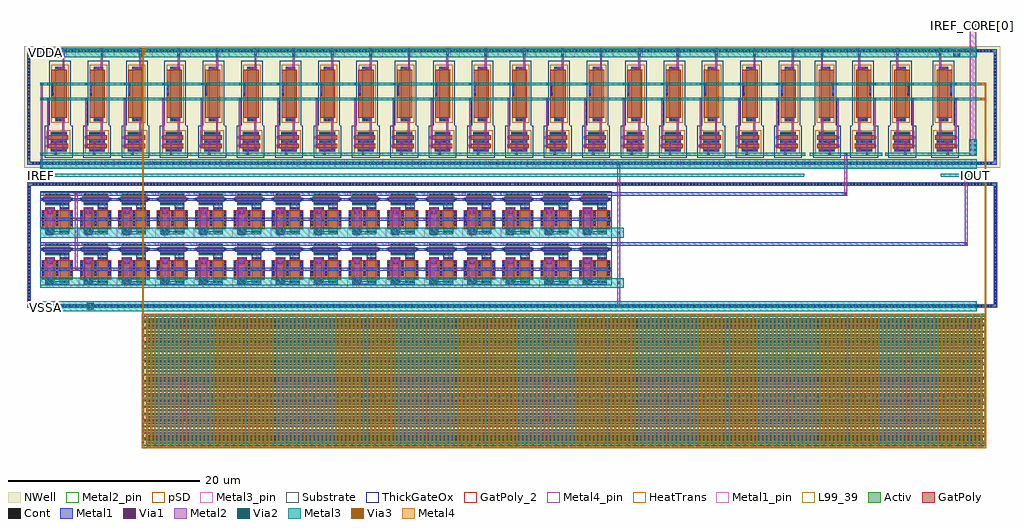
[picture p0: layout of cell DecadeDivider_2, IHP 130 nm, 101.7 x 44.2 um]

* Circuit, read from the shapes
.subckt DecadeDivider_2 IOUT IREF IREF_CORE[0] VDDA VSSA
XM1 VSSA ISINK_MB_0_0/EN n1 VSSA sg13_hv_nmos w=1u l=2u
XM2 IOUT ISINK_MB_0_0/EN n2 VSSA sg13_hv_nmos w=2.5u l=0.5u
XM3 VSSA ISINK_MB_0_0/EN n3 VSSA sg13_hv_nmos w=1u l=2u
XM4 ISINK_MB_0_0/EN ISINK_MB_0_0/EN n4 VSSA sg13_hv_nmos w=2.5u l=0.5u
XM5 n2 ISINK_MB_0_0/EN n1 VSSA sg13_hv_nmos w=1u l=2u
XM6 n4 ISINK_MB_0_0/EN n3 VSSA sg13_hv_nmos w=1u l=2u
XM7 VSSA ISINK_MB_0_0/EN n5 VSSA sg13_hv_nmos w=1u l=2u
XM8 IOUT ISINK_MB_0_0/EN n6 VSSA sg13_hv_nmos w=2.5u l=0.5u
XM9 VSSA ISINK_MB_0_0/EN n7 VSSA sg13_hv_nmos w=1u l=2u
XM10 ISINK_MB_0_0/EN ISINK_MB_0_0/EN n8 VSSA sg13_hv_nmos w=2.5u l=0.5u
XM11 n6 ISINK_MB_0_0/EN n5 VSSA sg13_hv_nmos w=1u l=2u
XM12 n8 ISINK_MB_0_0/EN n7 VSSA sg13_hv_nmos w=1u l=2u
XM13 VSSA ISINK_MB_0_0/EN n9 VSSA sg13_hv_nmos w=1u l=2u
XM14 IOUT ISINK_MB_0_0/EN n10 VSSA sg13_hv_nmos w=2.5u l=0.5u
XM15 VSSA ISINK_MB_0_0/EN n11 VSSA sg13_hv_nmos w=1u l=2u
XM16 ISINK_MB_0_0/EN ISINK_MB_0_0/EN n12 VSSA sg13_hv_nmos w=2.5u l=0.5u
XM17 n10 ISINK_MB_0_0/EN n9 VSSA sg13_hv_nmos w=1u l=2u
XM18 n12 ISINK_MB_0_0/EN n11 VSSA sg13_hv_nmos w=1u l=2u
XM19 VSSA ISINK_MB_0_0/EN n13 VSSA sg13_hv_nmos w=1u l=2u
XM20 IOUT ISINK_MB_0_0/EN n14 VSSA sg13_hv_nmos w=2.5u l=0.5u
XM21 VSSA ISINK_MB_0_0/EN n15 VSSA sg13_hv_nmos w=1u l=2u
XM22 ISINK_MB_0_0/EN ISINK_MB_0_0/EN n16 VSSA sg13_hv_nmos w=2.5u l=0.5u
XM23 n14 ISINK_MB_0_0/EN n13 VSSA sg13_hv_nmos w=1u l=2u
XM24 n16 ISINK_MB_0_0/EN n15 VSSA sg13_hv_nmos w=1u l=2u
XM25 VSSA ISINK_MB_0_0/EN n17 VSSA sg13_hv_nmos w=1u l=2u
XM26 IOUT ISINK_MB_0_0/EN n18 VSSA sg13_hv_nmos w=2.5u l=0.5u
XM27 VSSA ISINK_MB_0_0/EN n19 VSSA sg13_hv_nmos w=1u l=2u
XM28 ISINK_MB_0_0/EN ISINK_MB_0_0/EN n20 VSSA sg13_hv_nmos w=2.5u l=0.5u
XM29 n18 ISINK_MB_0_0/EN n17 VSSA sg13_hv_nmos w=1u l=2u
XM30 n20 ISINK_MB_0_0/EN n19 VSSA sg13_hv_nmos w=1u l=2u
XM31 VSSA ISINK_MB_0_0/EN n21 VSSA sg13_hv_nmos w=1u l=2u
XM32 IOUT ISINK_MB_0_0/EN n22 VSSA sg13_hv_nmos w=2.5u l=0.5u
XM33 VSSA ISINK_MB_0_0/EN n23 VSSA sg13_hv_nmos w=1u l=2u
XM34 ISINK_MB_0_0/EN ISINK_MB_0_0/EN n24 VSSA sg13_hv_nmos w=2.5u l=0.5u
XM35 n22 ISINK_MB_0_0/EN n21 VSSA sg13_hv_nmos w=1u l=2u
XM36 n24 ISINK_MB_0_0/EN n23 VSSA sg13_hv_nmos w=1u l=2u
XM37 VSSA ISINK_MB_0_0/EN n25 VSSA sg13_hv_nmos w=1u l=2u
XM38 IOUT ISINK_MB_0_0/EN n26 VSSA sg13_hv_nmos w=2.5u l=0.5u
XM39 VSSA ISINK_MB_0_0/EN n27 VSSA sg13_hv_nmos w=1u l=2u
XM40 ISINK_MB_0_0/EN ISINK_MB_0_0/EN n28 VSSA sg13_hv_nmos w=2.5u l=0.5u
XM41 n26 ISINK_MB_0_0/EN n25 VSSA sg13_hv_nmos w=1u l=2u
XM42 n28 ISINK_MB_0_0/EN n27 VSSA sg13_hv_nmos w=1u l=2u
XM43 VSSA ISINK_MB_0_0/EN n29 VSSA sg13_hv_nmos w=1u l=2u
XM44 IOUT ISINK_MB_0_0/EN n30 VSSA sg13_hv_nmos w=2.5u l=0.5u
XM45 VSSA ISINK_MB_0_0/EN n31 VSSA sg13_hv_nmos w=1u l=2u
XM46 ISINK_MB_0_0/EN ISINK_MB_0_0/EN n32 VSSA sg13_hv_nmos w=2.5u l=0.5u
XM47 n30 ISINK_MB_0_0/EN n29 VSSA sg13_hv_nmos w=1u l=2u
XM48 n32 ISINK_MB_0_0/EN n31 VSSA sg13_hv_nmos w=1u l=2u
XM49 VSSA ISINK_MB_0_0/EN n33 VSSA sg13_hv_nmos w=1u l=2u
XM50 IOUT ISINK_MB_0_0/EN n34 VSSA sg13_hv_nmos w=2.5u l=0.5u
XM51 VSSA ISINK_MB_0_0/EN n35 VSSA sg13_hv_nmos w=1u l=2u
XM52 ISINK_MB_0_0/EN ISINK_MB_0_0/EN n36 VSSA sg13_hv_nmos w=2.5u l=0.5u
XM53 n34 ISINK_MB_0_0/EN n33 VSSA sg13_hv_nmos w=1u l=2u
XM54 n36 ISINK_MB_0_0/EN n35 VSSA sg13_hv_nmos w=1u l=2u
XM55 VSSA ISINK_MB_0_0/EN n37 VSSA sg13_hv_nmos w=1u l=2u
XM56 IOUT ISINK_MB_0_0/EN n38 VSSA sg13_hv_nmos w=2.5u l=0.5u
XM57 VSSA ISINK_MB_0_0/EN n39 VSSA sg13_hv_nmos w=1u l=2u
XM58 ISINK_MB_0_0/EN ISINK_MB_0_0/EN n40 VSSA sg13_hv_nmos w=2.5u l=0.5u
XM59 n38 ISINK_MB_0_0/EN n37 VSSA sg13_hv_nmos w=1u l=2u
XM60 n40 ISINK_MB_0_0/EN n39 VSSA sg13_hv_nmos w=1u l=2u
XM61 VSSA ISINK_MB_0_0/EN n41 VSSA sg13_hv_nmos w=1u l=2u
XM62 IOUT ISINK_MB_0_0/EN n42 VSSA sg13_hv_nmos w=2.5u l=0.5u
XM63 VSSA ISINK_MB_0_0/EN n43 VSSA sg13_hv_nmos w=1u l=2u
XM64 ISINK_MB_0_0/EN ISINK_MB_0_0/EN n44 VSSA sg13_hv_nmos w=2.5u l=0.5u
XM65 n42 ISINK_MB_0_0/EN n41 VSSA sg13_hv_nmos w=1u l=2u
XM66 n44 ISINK_MB_0_0/EN n43 VSSA sg13_hv_nmos w=1u l=2u
XM67 VSSA ISINK_MB_0_0/EN n45 VSSA sg13_hv_nmos w=1u l=2u
XM68 IOUT ISINK_MB_0_0/EN n46 VSSA sg13_hv_nmos w=2.5u l=0.5u
XM69 VSSA ISINK_MB_0_0/EN n47 VSSA sg13_hv_nmos w=1u l=2u
XM70 ISINK_MB_0_0/EN ISINK_MB_0_0/EN n48 VSSA sg13_hv_nmos w=2.5u l=0.5u
XM71 n46 ISINK_MB_0_0/EN n45 VSSA sg13_hv_nmos w=1u l=2u
XM72 n48 ISINK_MB_0_0/EN n47 VSSA sg13_hv_nmos w=1u l=2u
XM73 VSSA ISINK_MB_0_0/EN n49 VSSA sg13_hv_nmos w=1u l=2u
XM74 IOUT ISINK_MB_0_0/EN n50 VSSA sg13_hv_nmos w=2.5u l=0.5u
XM75 VSSA ISINK_MB_0_0/EN n51 VSSA sg13_hv_nmos w=1u l=2u
XM76 ISINK_MB_0_0/EN ISINK_MB_0_0/EN n52 VSSA sg13_hv_nmos w=2.5u l=0.5u
XM77 n50 ISINK_MB_0_0/EN n49 VSSA sg13_hv_nmos w=1u l=2u
XM78 n52 ISINK_MB_0_0/EN n51 VSSA sg13_hv_nmos w=1u l=2u
XM79 VSSA ISINK_MB_0_0/EN n53 VSSA sg13_hv_nmos w=1u l=2u
XM80 IOUT ISINK_MB_0_0/EN n54 VSSA sg13_hv_nmos w=2.5u l=0.5u
XM81 VSSA ISINK_MB_0_0/EN n55 VSSA sg13_hv_nmos w=1u l=2u
XM82 ISINK_MB_0_0/EN ISINK_MB_0_0/EN n56 VSSA sg13_hv_nmos w=2.5u l=0.5u
XM83 n54 ISINK_MB_0_0/EN n53 VSSA sg13_hv_nmos w=1u l=2u
XM84 n56 ISINK_MB_0_0/EN n55 VSSA sg13_hv_nmos w=1u l=2u
XM85 VSSA ISINK_MB_0_0/EN n57 VSSA sg13_hv_nmos w=1u l=2u
XM86 IOUT ISINK_MB_0_0/EN n58 VSSA sg13_hv_nmos w=2.5u l=0.5u
XM87 VSSA ISINK_MB_0_0/EN n59 VSSA sg13_hv_nmos w=1u l=2u
XM88 ISINK_MB_0_0/EN ISINK_MB_0_0/EN n60 VSSA sg13_hv_nmos w=2.5u l=0.5u
XM89 n58 ISINK_MB_0_0/EN n57 VSSA sg13_hv_nmos w=1u l=2u
XM90 n60 ISINK_MB_0_0/EN n59 VSSA sg13_hv_nmos w=1u l=2u
XM91 IREF IREF n61 VDDA sg13_hv_pmos w=1.65u l=0.5u m=2
XM92 VDDA IREF n61 VDDA sg13_hv_pmos w=1u l=5u
XM93 IREF IREF n62 VDDA sg13_hv_pmos w=1.65u l=0.5u m=2
XM94 VDDA IREF n62 VDDA sg13_hv_pmos w=1u l=5u
XM95 IREF IREF n63 VDDA sg13_hv_pmos w=1.65u l=0.5u m=2
XM96 VDDA IREF n63 VDDA sg13_hv_pmos w=1u l=5u
XM97 IREF IREF n64 VDDA sg13_hv_pmos w=1.65u l=0.5u m=2
XM98 VDDA IREF n64 VDDA sg13_hv_pmos w=1u l=5u
XM99 IREF IREF n65 VDDA sg13_hv_pmos w=1.65u l=0.5u m=2
XM100 VDDA IREF n65 VDDA sg13_hv_pmos w=1u l=5u
XM101 IREF IREF n66 VDDA sg13_hv_pmos w=1.65u l=0.5u m=2
XM102 VDDA IREF n66 VDDA sg13_hv_pmos w=1u l=5u
XM103 IREF IREF n67 VDDA sg13_hv_pmos w=1.65u l=0.5u m=2
XM104 VDDA IREF n67 VDDA sg13_hv_pmos w=1u l=5u
XM105 IREF IREF n68 VDDA sg13_hv_pmos w=1.65u l=0.5u m=2
XM106 VDDA IREF n68 VDDA sg13_hv_pmos w=1u l=5u
XM107 IREF IREF n69 VDDA sg13_hv_pmos w=1.65u l=0.5u m=2
XM108 VDDA IREF n69 VDDA sg13_hv_pmos w=1u l=5u
XM109 IREF IREF n70 VDDA sg13_hv_pmos w=1.65u l=0.5u m=2
XM110 VDDA IREF n70 VDDA sg13_hv_pmos w=1u l=5u
XM111 IREF IREF n71 VDDA sg13_hv_pmos w=1.65u l=0.5u m=2
XM112 VDDA IREF n71 VDDA sg13_hv_pmos w=1u l=5u
XM113 IREF IREF n72 VDDA sg13_hv_pmos w=1.65u l=0.5u m=2
XM114 VDDA IREF n72 VDDA sg13_hv_pmos w=1u l=5u
XM115 IREF IREF n73 VDDA sg13_hv_pmos w=1.65u l=0.5u m=2
XM116 VDDA IREF n73 VDDA sg13_hv_pmos w=1u l=5u
XM117 IREF IREF n74 VDDA sg13_hv_pmos w=1.65u l=0.5u m=2
XM118 VDDA IREF n74 VDDA sg13_hv_pmos w=1u l=5u
XM119 IREF IREF n75 VDDA sg13_hv_pmos w=1.65u l=0.5u m=2
XM120 VDDA IREF n75 VDDA sg13_hv_pmos w=1u l=5u
XM121 IREF IREF n76 VDDA sg13_hv_pmos w=1.65u l=0.5u m=2
XM122 VDDA IREF n76 VDDA sg13_hv_pmos w=1u l=5u
XM123 IREF IREF n77 VDDA sg13_hv_pmos w=1.65u l=0.5u m=2
XM124 VDDA IREF n77 VDDA sg13_hv_pmos w=1u l=5u
XM125 IREF IREF n78 VDDA sg13_hv_pmos w=1.65u l=0.5u m=2
XM126 VDDA IREF n78 VDDA sg13_hv_pmos w=1u l=5u
XM127 IREF IREF n79 VDDA sg13_hv_pmos w=1.65u l=0.5u m=2
XM128 VDDA IREF n79 VDDA sg13_hv_pmos w=1u l=5u
XM129 IREF IREF n80 VDDA sg13_hv_pmos w=1.65u l=0.5u m=2
XM130 VDDA IREF n80 VDDA sg13_hv_pmos w=1u l=5u
XM131 ISINK_MB_0_0/EN IREF n81 VDDA sg13_hv_pmos w=1.65u l=0.5u m=2
XM132 VDDA IREF n81 VDDA sg13_hv_pmos w=1u l=5u
XM133 ISINK_MB_0_0/EN IREF n82 VDDA sg13_hv_pmos w=1.65u l=0.5u m=2
XM134 VDDA IREF n82 VDDA sg13_hv_pmos w=1u l=5u
XM135 IREF_CORE[0] IREF n83 VDDA sg13_hv_pmos w=1.65u l=0.5u m=2
XM136 VDDA IREF n83 VDDA sg13_hv_pmos w=1u l=5u
XM137 IREF_CORE[0] IREF n84 VDDA sg13_hv_pmos w=1.65u l=0.5u m=2
XM138 VDDA IREF n84 VDDA sg13_hv_pmos w=1u l=5u
.ends

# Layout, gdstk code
from math import pi, radians
import gdstk
lib = gdstk.Library(unit=1e-6, precision=1e-09)
def R(c, l, rs):  # rectangles x0, y0, x1, y1
    for r in rs: c.add(gdstk.rectangle(r[:2], r[2:], *l))
def A(c, l, x, y, w, h, nx, ny, dx, dy):  # array of equal rectangles
    R(c, l, [(x+i*dx, y+j*dy, x+i*dx+w, y+j*dy+h) for i in range(nx) for j in range(ny)])
def P(c, l, *ps):  # polygons
    for p in ps: c.add(gdstk.Polygon(p, *l))
Activ = (1, 0)
GatPoly = (5, 0)
GatPoly_2 = (5, 2)
Cont = (6, 0)
Metal1 = (8, 0)
Metal1_pin = (8, 2)
Metal2 = (10, 0)
Metal2_pin = (10, 2)
pSD = (14, 0)
Via1 = (19, 0)
Via2 = (29, 0)
Metal3 = (30, 0)
Metal3_pin = (30, 2)
NWell = (31, 0)
Substrate = (40, 0)
ThickGateOx = (44, 0)
Via3 = (49, 0)
Metal4 = (50, 0)
Metal4_pin = (50, 2)
HeatTrans = (51, 0)
L99_39 = (99, 39)

nmoshv = lib.new_cell('nmosHV')
R(nmoshv, Activ, [(0,0,0.3,0.3), (0,0,1.18,2.5), (0.88,0,1.18,0.3)])
R(nmoshv, GatPoly, [(0.34,-0.18,0.84,2.68)])
R(nmoshv, GatPoly_2, [(0.34,-0.18,0.84,2.68)])
A(nmoshv, Cont, 0.07, 0.07, 0.16, 0.16, 1, 3, 0, 0.365)
A(nmoshv, Cont, 0.95, 0.07, 0.16, 0.16, 1, 3, 0, 0.365)
A(nmoshv, Cont, 0.07, 1.17, 0.16, 0.16, 1, 3, 0, 0.365)
A(nmoshv, Cont, 0.95, 1.17, 0.16, 0.16, 1, 3, 0, 0.365)
R(nmoshv, Cont, [(0.07,2.27,0.23,2.43), (0.95,2.27,1.11,2.43)])
R(nmoshv, Metal1, [(0.07,0,0.23,2.5), (0.95,0,1.11,2.5)])
R(nmoshv, Metal1_pin, [(0.07,0,0.23,2.5), (0.95,0,1.11,2.5)])
R(nmoshv, ThickGateOx, [(-0.27,-0.52,1.45,3.02)])
R(nmoshv, HeatTrans, [(0.34,-0.18,0.84,2.68)])
nmoshv.add(gdstk.Label('nmosHV', (0.59,1.25), layer=63, texttype=0))
nmoshv.add(gdstk.Label('nmosHV', (0.59,1.25), layer=51, texttype=0))

nmoshv_1 = lib.new_cell('nmosHV$1')
R(nmoshv_1, Activ, [(0,0,0.3,0.3), (0,0,2.68,1), (2.38,0,2.68,0.3)])
R(nmoshv_1, GatPoly, [(0.34,-0.18,2.34,1.18)])
R(nmoshv_1, GatPoly_2, [(0.34,-0.18,2.34,1.18)])
A(nmoshv_1, Cont, 0.07, 0.07, 0.16, 0.16, 1, 3, 0, 0.35)
A(nmoshv_1, Cont, 2.45, 0.07, 0.16, 0.16, 1, 3, 0, 0.35)
R(nmoshv_1, Metal1, [(0.07,0,0.23,1), (2.45,0,2.61,1)])
R(nmoshv_1, Metal1_pin, [(0.07,0,0.23,1), (2.45,0,2.61,1)])
R(nmoshv_1, ThickGateOx, [(-0.27,-0.52,2.95,1.52)])
R(nmoshv_1, HeatTrans, [(0.34,-0.18,2.34,1.18)])
nmoshv_1.add(gdstk.Label('nmosHV', (1.34,0.5), layer=63, texttype=0))
nmoshv_1.add(gdstk.Label('nmosHV', (1.34,0.5), layer=51, texttype=0))

viagpcont_m1 = lib.new_cell('ViaGPCont_M1')
R(viagpcont_m1, GatPoly, [(-0.15,-0.15,0.15,0.15), (-0.15,-0.15,0.15,0.15)])
R(viagpcont_m1, Cont, [(-0.08,-0.08,0.08,0.08)])
R(viagpcont_m1, Metal1, [(-0.13,-0.08,0.13,0.08)])

viagpcont_m1_2 = lib.new_cell('ViaGPCont_M1$2')
R(viagpcont_m1_2, GatPoly, [(-0.15,-0.83,0.15,0.83), (-0.15,-0.83,0.15,0.83)])
A(viagpcont_m1_2, Cont, -0.08, -0.76, 0.16, 0.16, 1, 5, 0, 0.34)
R(viagpcont_m1_2, Metal1, [(-0.13,-0.76,0.13,0.76)])

via_stack_5 = lib.new_cell('via_stack$5')
R(via_stack_5, Metal2, [(-0.35,-0.35,0.35,0.35)])
R(via_stack_5, Via2, [(-0.3,-0.3,-0.11,-0.11), (0.11,-0.3,0.3,-0.11), (-0.3,0.11,-0.11,0.3), (0.11,0.11,0.3,0.3)])
R(via_stack_5, Metal3, [(-0.35,-0.35,0.35,0.35)])

via_stack_6 = lib.new_cell('via_stack$6')
R(via_stack_6, Metal1, [(-0.35,-0.35,0.35,0.35)])
R(via_stack_6, Metal2, [(-0.35,-0.35,0.35,0.35)])
R(via_stack_6, Via1, [(-0.3,-0.3,-0.11,-0.11), (0.11,-0.3,0.3,-0.11), (-0.3,0.11,-0.11,0.3), (0.11,0.11,0.3,0.3)])

isink_mb = lib.new_cell('ISINK_MB')
R(isink_mb, Metal1, [(0.52,3.105,1.52,3.455)])
R(isink_mb, Metal3_pin, [(2.54,0,3.54,1)])
isink_mb.add(gdstk.FlexPath([(0,1.91),(3.54,1.91)], 0.3, ends="flush", simple_path=True, layer=8, datatype=0))  # Metal1
isink_mb.add(gdstk.FlexPath([(0.52,0.495),(3.02,0.495)], 0.3, ends="flush", simple_path=True, layer=8, datatype=0))  # Metal1
isink_mb.add(gdstk.FlexPath([(0,4.535),(3.54,4.535)], 0.4, ends="flush", simple_path=True, layer=8, datatype=0))  # Metal1
isink_mb.add(gdstk.FlexPath([(0,3.965),(3.54,3.965)], 0.3, ends="flush", simple_path=True, layer=8, datatype=0))  # Metal1
isink_mb.add(gdstk.FlexPath([(2.53,3.175),(2.53,0.215)], 0.7, ends="flush", simple_path=True, layer=10, datatype=0))  # Metal2
isink_mb.add(gdstk.FlexPath([(0,0.5),(3.54,0.5)], 1, ends="flush", simple_path=True, layer=30, datatype=0))  # Metal3
isink_mb.add(gdstk.FlexPath([(3.54,1.91),(3.18,1.91)], 0.3, ends="flush", simple_path=True, layer=8, datatype=2))  # Metal1_pin
isink_mb.add(gdstk.FlexPath([(3.54,4.535),(3.18,4.535)], 0.4, ends="flush", simple_path=True, layer=8, datatype=2))  # Metal1_pin
isink_mb.add(gdstk.FlexPath([(3.54,3.965),(3.18,3.965)], 0.3, ends="flush", simple_path=True, layer=8, datatype=2))  # Metal1_pin
isink_mb.add(gdstk.FlexPath([(0.15,1.835),(3.39,1.835)], 2, ends="flush", simple_path=True, layer=5, datatype=0))  # GatPoly
r = gdstk.Reference(nmoshv, (0.52,4.565), rotation=3*pi/2); r.repetition = gdstk.Repetition(1, 1, v1=(0,0), v2=(0,0)); isink_mb.add(r)
r = gdstk.Reference(nmoshv_1, (2.02,3.175), rotation=3*pi/2); r.repetition = gdstk.Repetition(1, 1, v1=(0,0), v2=(0,0)); isink_mb.add(r)
r = gdstk.Reference(nmoshv_1, (0.52,3.175), rotation=3*pi/2); r.repetition = gdstk.Repetition(1, 1, v1=(0,0), v2=(0,0)); isink_mb.add(r)
r = gdstk.Reference(viagpcont_m1, (0.3,3.985), rotation=pi/2); r.repetition = gdstk.Repetition(1, 1, v1=(0,0), v2=(0,0)); isink_mb.add(r)
r = gdstk.Reference(viagpcont_m1_2, (0.3,1.985)); r.repetition = gdstk.Repetition(3, 1, v1=(1.47,0), v2=(0,0)); isink_mb.add(r)
r = gdstk.Reference(via_stack_5, (2.54,0.565)); r.repetition = gdstk.Repetition(1, 1, v1=(0,0), v2=(0,0)); isink_mb.add(r)
r = gdstk.Reference(via_stack_6, (2.53,2.825)); r.repetition = gdstk.Repetition(1, 1, v1=(0,0), v2=(0,0)); isink_mb.add(r)
r = gdstk.Reference(viagpcont_m1, (3.24,3.985), rotation=pi/2); r.repetition = gdstk.Repetition(1, 1, v1=(0,0), v2=(0,0)); isink_mb.add(r)
isink_mb.add(gdstk.Label('VSSA', (3.04,0.5), layer=30, texttype=25))
isink_mb.add(gdstk.Label('MBIAS', (3.54,1.91), layer=8, texttype=25))
isink_mb.add(gdstk.Label('EN', (3.54,3.965), layer=8, texttype=25))
isink_mb.add(gdstk.Label('IO', (3.54,4.535), layer=8, texttype=25))

via_stack_5_1 = lib.new_cell('via_stack$5$1')
R(via_stack_5_1, Metal2, [(-0.145,-0.145,0.145,0.145)])
R(via_stack_5_1, Via2, [(-0.095,-0.095,0.095,0.095)])
R(via_stack_5_1, Metal3, [(-0.145,-0.145,0.145,0.145)])

via_stack_13 = lib.new_cell('via_stack$13')
R(via_stack_13, Metal2, [(-0.385,-0.865,0.385,0.865)])
A(via_stack_13, Via2, -0.335, -0.815, 0.19, 0.19, 1, 4, 0, 0.48)
A(via_stack_13, Via2, 0.145, -0.815, 0.19, 0.19, 1, 4, 0, 0.48)
R(via_stack_13, Metal3, [(-0.385,-0.865,0.385,0.865)])

via_stack_6_2 = lib.new_cell('via_stack$6$2')
R(via_stack_6_2, Metal1, [(-0.145,-0.145,0.145,0.145)])
R(via_stack_6_2, Metal2, [(-0.145,-0.145,0.145,0.145)])
R(via_stack_6_2, Via1, [(-0.095,-0.095,0.095,0.095)])

pmoshv = lib.new_cell('pmosHV')
R(pmoshv, Activ, [(0,0,0.3,0.3), (0,0,5.68,1), (5.38,0,5.68,0.3)])
R(pmoshv, GatPoly, [(0.34,-0.18,5.34,1.18)])
R(pmoshv, GatPoly_2, [(0.34,-0.18,5.34,1.18)])
A(pmoshv, Cont, 0.07, 0.07, 0.16, 0.16, 1, 3, 0, 0.35)
A(pmoshv, Cont, 5.45, 0.07, 0.16, 0.16, 1, 3, 0, 0.35)
R(pmoshv, Metal1, [(0.07,0,0.23,1), (5.45,0,5.61,1)])
R(pmoshv, Metal1_pin, [(0.07,0,0.23,1), (5.45,0,5.61,1)])
R(pmoshv, pSD, [(-0.18,-0.4,5.86,1.4)])
R(pmoshv, NWell, [(-0.62,-0.62,6.3,1.62)])
R(pmoshv, Substrate, [(5.38,0,5.68,0.3)])
R(pmoshv, ThickGateOx, [(-0.62,-0.62,6.3,1.62)])
R(pmoshv, HeatTrans, [(0.34,-0.18,5.34,1.18)])
pmoshv.add(gdstk.Label('pmosHV', (2.84,0.5), layer=63, texttype=0))
pmoshv.add(gdstk.Label('pmos', (2.84,0.5), layer=51, texttype=0))

pmoshv_1 = lib.new_cell('pmosHV$1')
A(pmoshv_1, Activ, 0, 0, 0.3, 0.3, 3, 1, 0.88, 0)
R(pmoshv_1, Activ, [(0,0,2.06,1.65)])
R(pmoshv_1, GatPoly, [(0.34,-0.18,0.84,1.83), (1.22,-0.18,1.72,1.83)])
R(pmoshv_1, GatPoly_2, [(0.34,-0.18,0.84,1.83)])
A(pmoshv_1, Cont, 0.07, 0.07, 0.16, 0.16, 3, 4, 0.88, 0.45)
A(pmoshv_1, Metal1, 0.07, 0, 0.16, 1.65, 3, 1, 0.88, 0)
R(pmoshv_1, Metal1_pin, [(0.07,0,0.23,1.65), (0.95,0,1.11,1.65)])
R(pmoshv_1, pSD, [(-0.18,-0.4,2.24,2.05)])
R(pmoshv_1, NWell, [(-0.62,-0.62,2.68,2.27)])
R(pmoshv_1, Substrate, [(1.76,0,2.06,0.3)])
R(pmoshv_1, ThickGateOx, [(-0.62,-0.62,2.68,2.27)])
R(pmoshv_1, HeatTrans, [(0.34,-0.18,0.84,1.83), (1.22,-0.18,1.72,1.83)])
pmoshv_1.add(gdstk.Label('pmosHV', (0.59,0.825), layer=63, texttype=0))
pmoshv_1.add(gdstk.Label('pmos', (0.59,0.825), layer=51, texttype=0))
pmoshv_1.add(gdstk.Label('pmos', (1.47,0.825), layer=51, texttype=0))

via_stack = lib.new_cell('via_stack')
R(via_stack, Metal1, [(-0.145,-0.35,0.145,0.35)])
R(via_stack, Metal2, [(-0.145,-0.35,0.145,0.35)])
R(via_stack, Via1, [(-0.095,-0.3,0.095,-0.11), (-0.095,0.11,0.095,0.3)])

via_stack_1 = lib.new_cell('via_stack$1')
R(via_stack_1, Metal1, [(-0.35,-0.145,0.35,0.145)])
R(via_stack_1, Metal2, [(-0.35,-0.145,0.35,0.145)])
R(via_stack_1, Via1, [(-0.3,-0.095,-0.11,0.095), (0.11,-0.095,0.3,0.095)])
R(via_stack_1, Via2, [(-0.3,-0.095,-0.11,0.095), (0.11,-0.095,0.3,0.095)])
R(via_stack_1, Metal3, [(-0.35,-0.145,0.35,0.145)])

via_stack_2 = lib.new_cell('via_stack$2')
R(via_stack_2, Metal1, [(-0.145,-0.35,0.145,0.35)])
R(via_stack_2, Metal2, [(-0.145,-0.35,0.145,0.35)])
R(via_stack_2, Via1, [(-0.095,-0.3,0.095,-0.11), (-0.095,0.11,0.095,0.3)])
R(via_stack_2, Via2, [(-0.095,-0.3,0.095,-0.11), (-0.095,0.11,0.095,0.3)])
R(via_stack_2, Metal3, [(-0.145,-0.35,0.145,0.35)])

via_stack_3 = lib.new_cell('via_stack$3')
R(via_stack_3, Metal2, [(-0.145,-0.145,0.145,0.145)])
R(via_stack_3, Via2, [(-0.095,-0.095,0.095,0.095)])
R(via_stack_3, Metal3, [(-0.145,-0.145,0.145,0.145)])

via_stack_4 = lib.new_cell('via_stack$4')
R(via_stack_4, Metal1, [(-0.145,-0.145,0.145,0.145)])
R(via_stack_4, Metal2, [(-0.145,-0.145,0.145,0.145)])
R(via_stack_4, Via1, [(-0.095,-0.095,0.095,0.095)])

isource = lib.new_cell('ISOURCE')
R(isource, Metal3_pin, [(0,0,1,1), (0,1.36,0.3,1.66), (3.35,7.13,3.65,7.43), (3.35,8.7,3.65,9), (0,11.61,1,12.61)])
isource.add(gdstk.FlexPath([(2.43,7.645),(2.43,8.966)], 0.2, ends="flush", simple_path=True, layer=8, datatype=0))  # Metal1
isource.add(gdstk.FlexPath([(2.9,2.275),(2.9,3.4)], 0.2, ends="flush", simple_path=True, layer=8, datatype=0))  # Metal1
isource.add(gdstk.FlexPath([(1.28,10.36),(1.28,12.61)], 0.2, ends="flush", simple_path=True, layer=10, datatype=0))  # Metal2
isource.add(gdstk.FlexPath([(2.9,2.275),(2.9,7.43)], 0.2, ends="flush", simple_path=True, layer=10, datatype=0))  # Metal2
isource.add(gdstk.FlexPath([(1.29,5.26),(1.29,1.795)], 0.2, ends="flush", simple_path=True, layer=10, datatype=0))  # Metal2
isource.add(gdstk.FlexPath([(2.085,2.955),(2.085,1.36)], 0.2, ends="flush", simple_path=True, layer=10, datatype=0))  # Metal2
isource.add(gdstk.FlexPath([(0,0.5),(3.65,0.5)], 1, ends="flush", simple_path=True, layer=30, datatype=0))  # Metal3
isource.add(gdstk.FlexPath([(0,12.11),(3.64,12.11)], 1, ends="flush", simple_path=True, layer=30, datatype=0))  # Metal3
isource.add(gdstk.FlexPath([(0,1.51),(3.65,1.51)], 0.3, ends="flush", simple_path=True, layer=30, datatype=0))  # Metal3
isource.add(gdstk.FlexPath([(3.65,7.28),(0,7.28)], 0.3, ends="flush", simple_path=True, layer=30, datatype=0))  # Metal3
isource.add(gdstk.FlexPath([(3.65,8.85),(0,8.85)], 0.3, ends="flush", simple_path=True, layer=30, datatype=0))  # Metal3
isource.add(gdstk.FlexPath([(2.61,2.39),(2.995,2.39)], 0.5, ends="flush", simple_path=True, layer=5, datatype=0))  # GatPoly
isource.add(gdstk.FlexPath([(2.695,3.27),(2.995,3.27)], 0.5, ends="flush", simple_path=True, layer=5, datatype=0))  # GatPoly
isource.add(gdstk.FlexPath([(2.23,7.81),(2.55,7.81)], 5, ends="flush", simple_path=True, layer=5, datatype=0))  # GatPoly
isource.add(gdstk.Reference(pmoshv, (2.14,10.65), rotation=3*pi/2, x_reflection=True))
isource.add(gdstk.Reference(pmoshv_1, (0.96,1.8), rotation=pi/2, x_reflection=True))
r = gdstk.Reference(viagpcont_m1, (2.845,2.405), rotation=pi/2); r.repetition = gdstk.Repetition(1, 1, v1=(0,0), v2=(0,0)); isource.add(r)
r = gdstk.Reference(viagpcont_m1, (2.845,3.27), rotation=pi/2); r.repetition = gdstk.Repetition(1, 1, v1=(0,0), v2=(0,0)); isource.add(r)
r = gdstk.Reference(viagpcont_m1, (2.4,7.81), rotation=pi/2); r.repetition = gdstk.Repetition(1, 1, v1=(0,0), v2=(0,0)); isource.add(r)
r = gdstk.Reference(via_stack, (1.49,10.505), rotation=pi/2); r.repetition = gdstk.Repetition(1, 1, v1=(0,0), v2=(0,0)); isource.add(r)
r = gdstk.Reference(via_stack_1, (1.28,12.11), rotation=pi/2); r.repetition = gdstk.Repetition(1, 1, v1=(0,0), v2=(0,0)); isource.add(r)
r = gdstk.Reference(via_stack_2, (2.645,8.85), rotation=pi/2); r.repetition = gdstk.Repetition(1, 1, v1=(0,0), v2=(0,0)); isource.add(r)
r = gdstk.Reference(via_stack_3, (2.9,7.28), rotation=pi/2); r.repetition = gdstk.Repetition(1, 1, v1=(0,0), v2=(0,0)); isource.add(r)
r = gdstk.Reference(via_stack_4, (1.29,5.115), rotation=pi/2); r.repetition = gdstk.Repetition(1, 1, v1=(0,0), v2=(0,0)); isource.add(r)
r = gdstk.Reference(via_stack_4, (1.29,3.705), rotation=pi/2); r.repetition = gdstk.Repetition(1, 1, v1=(0,0), v2=(0,0)); isource.add(r)
r = gdstk.Reference(via_stack_4, (1.285,1.94), rotation=pi/2); r.repetition = gdstk.Repetition(1, 1, v1=(0,0), v2=(0,0)); isource.add(r)
r = gdstk.Reference(via_stack_4, (2.085,2.81), rotation=pi/2); r.repetition = gdstk.Repetition(1, 1, v1=(0,0), v2=(0,0)); isource.add(r)
r = gdstk.Reference(via_stack_3, (2.085,1.51), rotation=pi/2); r.repetition = gdstk.Repetition(1, 1, v1=(0,0), v2=(0,0)); isource.add(r)
r = gdstk.Reference(via_stack_4, (2.92,2.395)); r.repetition = gdstk.Repetition(1, 1, v1=(0,0), v2=(0,0)); isource.add(r)
r = gdstk.Reference(via_stack_4, (2.915,3.27)); r.repetition = gdstk.Repetition(1, 1, v1=(0,0), v2=(0,0)); isource.add(r)
isource.add(gdstk.Label('vdda', (0.5,12.11), layer=30, texttype=25))
isource.add(gdstk.Label('vssa', (0.5,0.51), layer=30, texttype=25))
isource.add(gdstk.Label('IO', (0.15,1.51), layer=30, texttype=25))
isource.add(gdstk.Label('ENB', (3.5,7.28), layer=30, texttype=25))
isource.add(gdstk.Label('MBIAS', (3.5,8.85), layer=30, texttype=25))

via_stack_8 = lib.new_cell('via_stack$8')
R(via_stack_8, Metal2, [(-0.145,-0.145,0.145,0.145)])
R(via_stack_8, Via2, [(-0.095,-0.095,0.095,0.095)])
R(via_stack_8, Metal3, [(-0.145,-0.145,0.145,0.145)])

via_stack_9 = lib.new_cell('via_stack$9')
R(via_stack_9, Metal1, [(-0.35,-0.35,0.35,0.35)])
R(via_stack_9, Metal2, [(-0.35,-0.35,0.35,0.35)])
R(via_stack_9, Via1, [(-0.3,-0.3,-0.11,-0.11), (0.11,-0.3,0.3,-0.11), (-0.3,0.11,-0.11,0.3), (0.11,0.11,0.3,0.3)])
R(via_stack_9, Via2, [(-0.3,-0.3,-0.11,-0.11), (0.11,-0.3,0.3,-0.11), (-0.3,0.11,-0.11,0.3), (0.11,0.11,0.3,0.3)])
R(via_stack_9, Metal3, [(-0.35,-0.35,0.35,0.35)])

guardring_2 = lib.new_cell('Guardring$2')
P(guardring_2, Activ, [(-6.5,-50.5),(-6.5,50.2),(-6.2,50.2),(-6.2,-50.2),(6.2,-50.2),(6.2,50.2),(-6.5,50.2),(-6.5,50.5),(6.5,50.5),(6.5,-50.5)])
A(guardring_2, Cont, -6.12, -50.43, 0.16, 0.16, 18, 2, 0.34, 100.7)
A(guardring_2, Cont, 0.18, -50.43, 0.16, 0.16, 18, 2, 0.34, 100.7)
A(guardring_2, Cont, -6.43, -49.98, 0.16, 0.16, 1, 147, 0, 0.34)
A(guardring_2, Cont, 6.27, -49.98, 0.16, 0.16, 1, 147, 0, 0.34)
A(guardring_2, Cont, -6.43, 0.18, 0.16, 0.16, 1, 147, 0, 0.34)
A(guardring_2, Cont, 6.27, 0.18, 0.16, 0.16, 1, 147, 0, 0.34)
P(guardring_2, Metal1, [(-6.5,-50.5),(-6.5,50.2),(-6.2,50.2),(-6.2,-50.2),(6.2,-50.2),(6.2,50.2),(-6.5,50.2),(-6.5,50.5),(6.5,50.5),(6.5,-50.5)])
P(guardring_2, pSD, [(-6.53,-50.53),(-6.53,50.17),(-6.17,50.17),(-6.17,-50.17),(6.17,-50.17),(6.17,50.17),(-6.53,50.17),(-6.53,50.53),(6.53,50.53),(6.53,-50.53)])
P(guardring_2, Substrate, [(-6.53,-50.53),(-6.53,50.17),(-6.17,50.17),(-6.17,-50.17),(6.17,-50.17),(6.17,50.17),(-6.53,50.17),(-6.53,50.53),(6.53,50.53),(6.53,-50.53)])

guardring = lib.new_cell('Guardring')
P(guardring, Activ, [(-6,-50.5),(-6,50.2),(-5.7,50.2),(-5.7,-50.2),(5.7,-50.2),(5.7,50.2),(-6,50.2),(-6,50.5),(6,50.5),(6,-50.5)])
A(guardring, Cont, -5.44, -50.43, 0.16, 0.16, 16, 2, 0.34, 100.7)
A(guardring, Cont, 0.18, -50.43, 0.16, 0.16, 16, 2, 0.34, 100.7)
A(guardring, Cont, -5.93, -49.98, 0.16, 0.16, 1, 147, 0, 0.34)
A(guardring, Cont, 5.77, -49.98, 0.16, 0.16, 1, 147, 0, 0.34)
A(guardring, Cont, -5.93, 0.18, 0.16, 0.16, 1, 147, 0, 0.34)
A(guardring, Cont, 5.77, 0.18, 0.16, 0.16, 1, 147, 0, 0.34)
P(guardring, Metal1, [(-6,-50.5),(-6,50.2),(-5.7,50.2),(-5.7,-50.2),(5.7,-50.2),(5.7,50.2),(-6,50.2),(-6,50.5),(6,50.5),(6,-50.5)])
R(guardring, NWell, [(-6.35,-50.85,6.35,50.85)])

cap_mfringe = lib.new_cell('cap_mfringe')
A(cap_mfringe, Metal1, 0.46, 0, 0.16, 87.61, 20, 1, 0.68, 0)
A(cap_mfringe, Metal1, 0.8, 0.39, 0.16, 87.61, 19, 1, 0.68, 0)
R(cap_mfringe, Metal1, [(0,0,0.28,88), (0,0,13.54,0.21), (13.72,0,14,88), (0.46,87.79,14,88)])
A(cap_mfringe, Metal2, 0.42, 0.44, 13.58, 0.2, 1, 107, 0, 0.82)
A(cap_mfringe, Metal2, 0, 0.85, 13.58, 0.2, 1, 106, 0, 0.82)
R(cap_mfringe, Metal2, [(0,0,0.205,87.56), (0,0,14,0.23), (13.795,0.44,14,88), (0,87.77,14,88)])
A(cap_mfringe, Via1, 0.755, 0.01, 0.19, 0.19, 31, 1, 0.41, 0)
A(cap_mfringe, Via1, 0.01, 0.55, 0.19, 0.19, 1, 212, 0, 0.41)
A(cap_mfringe, Via1, 13.8, 0.75, 0.19, 0.19, 1, 212, 0, 0.41)
A(cap_mfringe, Via1, 0.855, 87.8, 0.19, 0.19, 31, 1, 0.41, 0)
A(cap_mfringe, Via2, 0.755, 0.005, 0.19, 0.19, 31, 1, 0.41, 0)
A(cap_mfringe, Via2, 0.005, 0.55, 0.19, 0.19, 1, 212, 0, 0.41)
A(cap_mfringe, Via2, 13.805, 0.75, 0.19, 0.19, 1, 212, 0, 0.41)
A(cap_mfringe, Via2, 0.855, 87.805, 0.19, 0.19, 31, 1, 0.41, 0)
A(cap_mfringe, Metal3, 0.545, 0, 0.2, 87.59, 16, 1, 0.82, 0)
A(cap_mfringe, Metal3, 0.955, 0.41, 0.2, 87.59, 16, 1, 0.82, 0)
R(cap_mfringe, Metal3, [(0,0,0.335,88), (0,0,13.455,0.2), (13.665,0,14,88), (0.545,87.8,14,88)])
A(cap_mfringe, Via3, 0.755, 0.005, 0.19, 0.19, 31, 1, 0.41, 0)
A(cap_mfringe, Via3, 0.005, 0.55, 0.19, 0.19, 1, 212, 0, 0.41)
A(cap_mfringe, Via3, 13.805, 0.75, 0.19, 0.19, 1, 212, 0, 0.41)
A(cap_mfringe, Via3, 0.855, 87.805, 0.19, 0.19, 31, 1, 0.41, 0)
A(cap_mfringe, Metal4, 0.41, 0.44, 13.59, 0.2, 1, 107, 0, 0.82)
A(cap_mfringe, Metal4, 0, 0.85, 13.59, 0.2, 1, 106, 0, 0.82)
R(cap_mfringe, Metal4, [(0,0,0.2,87.56), (0,0,14,0.23), (13.8,0.44,14,88), (0,87.77,14,88)])
R(cap_mfringe, Metal4_pin, [(0,43.9,0.2,44.1), (6.9,87.8,7.1,88)])
R(cap_mfringe, L99_39, [(0,0,14,88)])
cap_mfringe.add(gdstk.Label('cap_mfringe C=2858.240fF', (0,-0.5), layer=63, texttype=0))

cap3 = lib.new_cell('Cap3')
cap3.add(gdstk.FlexPath([(0,13.9),(0.44,13.9)], 0.2, ends="flush", simple_path=True, layer=50, datatype=2))  # Metal4_pin
cap3.add(gdstk.FlexPath([(87.885,11.855),(87.885,11.2)], 0.2, ends="flush", simple_path=True, layer=50, datatype=2))  # Metal4_pin
r = gdstk.Reference(cap_mfringe, (88,0), rotation=pi/2); r.repetition = gdstk.Repetition(1, 1, v1=(0,0), v2=(0,0)); cap3.add(r)
cap3.add(gdstk.Label('Cp2', (87.885,11.545), layer=50, texttype=25))
cap3.add(gdstk.Label('Cp1', (0.135,13.935), layer=50, texttype=25))

via_stack_10 = lib.new_cell('via_stack$10')
R(via_stack_10, Metal3, [(-0.35,-0.145,0.35,0.145)])
R(via_stack_10, Via3, [(-0.3,-0.095,-0.11,0.095), (0.11,-0.095,0.3,0.095)])
R(via_stack_10, Metal4, [(-0.35,-0.145,0.35,0.145)])

via_stack_11 = lib.new_cell('via_stack$11')
R(via_stack_11, Metal3, [(-0.145,-0.35,0.145,0.35)])
R(via_stack_11, Via3, [(-0.095,-0.3,0.095,-0.11), (-0.095,0.11,0.095,0.3)])
R(via_stack_11, Metal4, [(-0.145,-0.35,0.145,0.35)])

decadedivider_2 = lib.new_cell('DecadeDivider_2')
R(decadedivider_2, Metal3_pin, [(1.69,0,2.69,1), (1.69,14,1.99,14.3), (98.96,14.01,99.26,14.31), (1.69,26.42,2.69,27.42)])
R(decadedivider_2, ThickGateOx, [(1.69,2.67,61.23,12.495)])
decadedivider_2.add(gdstk.FlexPath([(1.69,12.195),(61.23,12.195)], 0.4, ends="flush", simple_path=True, layer=8, datatype=0))  # Metal1
decadedivider_2.add(gdstk.FlexPath([(1.69,11.625),(61.23,11.625)], 0.3, ends="flush", simple_path=True, layer=8, datatype=0))  # Metal1
decadedivider_2.add(gdstk.FlexPath([(1.69,9.57),(61.23,9.57)], 0.3, ends="flush", simple_path=True, layer=8, datatype=0))  # Metal1
decadedivider_2.add(gdstk.FlexPath([(1.69,6.98),(61.23,6.98)], 0.4, ends="flush", simple_path=True, layer=8, datatype=0))  # Metal1
decadedivider_2.add(gdstk.FlexPath([(1.69,6.41),(61.23,6.41)], 0.3, ends="flush", simple_path=True, layer=8, datatype=0))  # Metal1
decadedivider_2.add(gdstk.FlexPath([(1.69,4.355),(61.23,4.355)], 0.3, ends="flush", simple_path=True, layer=8, datatype=0))  # Metal1
decadedivider_2.add(gdstk.FlexPath([(60.61,12.195),(85.795,12.195)], 0.4, ends="flush", simple_path=True, layer=8, datatype=0))  # Metal1
decadedivider_2.add(gdstk.FlexPath([(60.85,6.98),(98.325,6.98)], 0.4, ends="flush", simple_path=True, layer=8, datatype=0))  # Metal1
decadedivider_2.add(gdstk.FlexPath([(98.875,16.17),(98.875,29.92)], 0.7, ends="flush", simple_path=True, layer=10, datatype=0))  # Metal2
decadedivider_2.add(gdstk.FlexPath([(1.835,23.805),(1.835,14)], 0.2, ends="flush", simple_path=True, layer=10, datatype=0))  # Metal2
decadedivider_2.add(gdstk.FlexPath([(5.455,12.34),(5.455,4.205)], 0.3, ends="flush", simple_path=True, layer=10, datatype=0))  # Metal2
decadedivider_2.add(gdstk.FlexPath([(85.63,12.05),(85.63,16.47)], 0.3, ends="flush", simple_path=True, layer=10, datatype=0))  # Metal2
decadedivider_2.add(gdstk.FlexPath([(98.18,6.83),(98.18,14.31)], 0.3, ends="flush", simple_path=True, layer=10, datatype=0))  # Metal2
decadedivider_2.add(gdstk.FlexPath([(61.98,0.355),(61.98,15.455)], 0.3, ends="flush", simple_path=True, layer=10, datatype=0))  # Metal2
decadedivider_2.add(gdstk.FlexPath([(97.525,22.09),(100.275,22.09)], 0.3, ends="flush", simple_path=True, layer=30, datatype=0))  # Metal3
decadedivider_2.add(gdstk.FlexPath([(97.525,23.66),(100.275,23.66)], 0.3, ends="flush", simple_path=True, layer=30, datatype=0))  # Metal3
decadedivider_2.add(gdstk.FlexPath([(1.69,23.66),(97.825,23.66)], 0.3, ends="flush", simple_path=True, layer=30, datatype=0))  # Metal3
decadedivider_2.add(gdstk.FlexPath([(1.69,22.09),(97.825,22.09)], 0.3, ends="flush", simple_path=True, layer=30, datatype=0))  # Metal3
decadedivider_2.add(gdstk.FlexPath([(1.69,2.945),(61.23,2.945)], 1, ends="flush", simple_path=True, layer=30, datatype=0))  # Metal3
decadedivider_2.add(gdstk.FlexPath([(1.69,16.32),(81.4,16.32)], 0.3, ends="flush", simple_path=True, layer=30, datatype=0))  # Metal3
decadedivider_2.add(gdstk.FlexPath([(81.875,16.32),(89.41,16.32)], 0.3, ends="flush", simple_path=True, layer=30, datatype=0))  # Metal3
decadedivider_2.add(gdstk.FlexPath([(89.735,16.32),(99.26,16.32)], 0.3, ends="flush", simple_path=True, layer=30, datatype=0))  # Metal3
decadedivider_2.add(gdstk.FlexPath([(99.26,14.16),(95.54,14.16)], 0.3, ends="flush", simple_path=True, layer=30, datatype=0))  # Metal3
decadedivider_2.add(gdstk.FlexPath([(1.69,26.92),(99.26,26.92)], 1, ends="flush", simple_path=True, layer=30, datatype=0))  # Metal3
decadedivider_2.add(gdstk.FlexPath([(1.69,15.31),(99.26,15.31)], 1, ends="flush", simple_path=True, layer=30, datatype=0))  # Metal3
decadedivider_2.add(gdstk.FlexPath([(1.69,14.15),(1.99,14.15)], 0.3, ends="flush", simple_path=True, layer=30, datatype=0))  # Metal3
decadedivider_2.add(gdstk.FlexPath([(1.69,14.15),(81.29,14.15)], 0.3, ends="flush", simple_path=True, layer=30, datatype=0))  # Metal3
decadedivider_2.add(gdstk.FlexPath([(1.69,15.31),(81.34,15.31)], 1, ends="flush", simple_path=True, layer=30, datatype=0))  # Metal3
decadedivider_2.add(gdstk.FlexPath([(1.69,26.92),(81.36,26.92)], 1, ends="flush", simple_path=True, layer=30, datatype=0))  # Metal3
decadedivider_2.add(gdstk.FlexPath([(1.69,8.16),(61.23,8.16)], 1, ends="flush", simple_path=True, layer=30, datatype=0))  # Metal3
decadedivider_2.add(gdstk.FlexPath([(1.69,2.945),(61.23,2.945)], 1, ends="flush", simple_path=True, layer=30, datatype=0))  # Metal3
decadedivider_2.add(gdstk.FlexPath([(61.165,8.16),(62.49,8.16)], 1, ends="flush", simple_path=True, layer=30, datatype=0))  # Metal3
decadedivider_2.add(gdstk.FlexPath([(60.56,2.94),(62.5,2.94)], 1, ends="flush", simple_path=True, layer=30, datatype=0))  # Metal3
decadedivider_2.add(gdstk.FlexPath([(1.69,0.5),(99.26,0.5)], 1, ends="flush", simple_path=True, layer=30, datatype=0))  # Metal3
decadedivider_2.add(gdstk.FlexPath([(12.4,-0.575),(12.4,27.37)], 0.2, ends="flush", simple_path=True, layer=50, datatype=0))  # Metal4
decadedivider_2.add(gdstk.FlexPath([(100.185,-3.28),(100.185,23.81)], 0.2, ends="flush", simple_path=True, layer=50, datatype=0))  # Metal4
decadedivider_2.add(gdstk.FlexPath([(98.875,29.92),(98.875,29.31)], 0.7, ends="flush", simple_path=True, layer=10, datatype=2))  # Metal2_pin
r = gdstk.Reference(isink_mb, (61.23,2.445), rotation=pi, x_reflection=True); r.repetition = gdstk.Repetition(15, 1, v1=(-4,0), v2=(0,0)); decadedivider_2.add(r)
r = gdstk.Reference(via_stack_5_1, (1.84,14.155), rotation=pi/2); r.repetition = gdstk.Repetition(1, 1, v1=(0,0), v2=(0,0)); decadedivider_2.add(r)
r = gdstk.Reference(via_stack_5_1, (1.835,22.09), rotation=pi/2); r.repetition = gdstk.Repetition(1, 1, v1=(0,0), v2=(0,0)); decadedivider_2.add(r)
r = gdstk.Reference(via_stack_5_1, (1.835,23.66), rotation=pi/2); r.repetition = gdstk.Repetition(1, 1, v1=(0,0), v2=(0,0)); decadedivider_2.add(r)
r = gdstk.Reference(via_stack_13, (98.875,17.035)); r.repetition = gdstk.Repetition(1, 1, v1=(0,0), v2=(0,0)); decadedivider_2.add(r)
r = gdstk.Reference(via_stack_6_2, (5.45,9.57)); r.repetition = gdstk.Repetition(1, 1, v1=(0,0), v2=(0,0)); decadedivider_2.add(r)
r = gdstk.Reference(isink_mb, (61.23,7.66), rotation=pi, x_reflection=True); r.repetition = gdstk.Repetition(15, 1, v1=(-4,0), v2=(0,0)); decadedivider_2.add(r)
r = gdstk.Reference(via_stack_6_2, (5.455,11.625)); r.repetition = gdstk.Repetition(1, 1, v1=(0,0), v2=(0,0)); decadedivider_2.add(r)
r = gdstk.Reference(via_stack_6_2, (5.455,12.195)); r.repetition = gdstk.Repetition(1, 1, v1=(0,0), v2=(0,0)); decadedivider_2.add(r)
r = gdstk.Reference(via_stack_6_2, (5.45,6.41)); r.repetition = gdstk.Repetition(1, 1, v1=(0,0), v2=(0,0)); decadedivider_2.add(r)
r = gdstk.Reference(via_stack_6_2, (5.45,4.355)); r.repetition = gdstk.Repetition(1, 1, v1=(0,0), v2=(0,0)); decadedivider_2.add(r)
r = gdstk.Reference(isource, (81.4,14.81), rotation=pi, x_reflection=True); r.repetition = gdstk.Repetition(20, 1, v1=(-4,0), v2=(0,0)); decadedivider_2.add(r)
r = gdstk.Reference(via_stack_8, (1.835,16.32), rotation=pi/2); r.repetition = gdstk.Repetition(1, 1, v1=(0,0), v2=(0,0)); decadedivider_2.add(r)
r = gdstk.Reference(isource, (81.875,14.81)); r.repetition = gdstk.Repetition(1, 1, v1=(0,0), v2=(0,0)); decadedivider_2.add(r)
r = gdstk.Reference(via_stack_9, (6.9,0.495), rotation=pi/2); r.repetition = gdstk.Repetition(1, 1, v1=(0,0), v2=(0,0)); decadedivider_2.add(r)
r = gdstk.Reference(isource, (85.76,14.81)); r.repetition = gdstk.Repetition(1, 1, v1=(0,0), v2=(0,0)); decadedivider_2.add(r)
r = gdstk.Reference(isource, (89.735,14.81)); r.repetition = gdstk.Repetition(1, 1, v1=(0,0), v2=(0,0)); decadedivider_2.add(r)
r = gdstk.Reference(via_stack_8, (85.625,16.325)); r.repetition = gdstk.Repetition(1, 1, v1=(0,0), v2=(0,0)); decadedivider_2.add(r)
r = gdstk.Reference(isource, (94.175,14.81)); r.repetition = gdstk.Repetition(1, 1, v1=(0,0), v2=(0,0)); decadedivider_2.add(r)
r = gdstk.Reference(via_stack_6_2, (85.63,12.195)); r.repetition = gdstk.Repetition(1, 1, v1=(0,0), v2=(0,0)); decadedivider_2.add(r)
r = gdstk.Reference(via_stack_6_2, (98.18,6.975)); r.repetition = gdstk.Repetition(1, 1, v1=(0,0), v2=(0,0)); decadedivider_2.add(r)
r = gdstk.Reference(via_stack_5_1, (98.175,14.16)); r.repetition = gdstk.Repetition(1, 1, v1=(0,0), v2=(0,0)); decadedivider_2.add(r)
r = gdstk.Reference(via_stack_5_1, (61.98,2.94)); r.repetition = gdstk.Repetition(1, 1, v1=(0,0), v2=(0,0)); decadedivider_2.add(r)
r = gdstk.Reference(via_stack_5_1, (61.98,8.16)); r.repetition = gdstk.Repetition(1, 1, v1=(0,0), v2=(0,0)); decadedivider_2.add(r)
r = gdstk.Reference(via_stack_5_1, (61.98,15.31)); r.repetition = gdstk.Repetition(1, 1, v1=(0,0), v2=(0,0)); decadedivider_2.add(r)
r = gdstk.Reference(via_stack_5_1, (61.98,0.5)); r.repetition = gdstk.Repetition(1, 1, v1=(0,0), v2=(0,0)); decadedivider_2.add(r)
r = gdstk.Reference(via_stack_9, (97.185,26.915)); r.repetition = gdstk.Repetition(1, 1, v1=(0,0), v2=(0,0)); decadedivider_2.add(r)
r = gdstk.Reference(guardring_2, (50.88,6.87), rotation=pi/2); r.repetition = gdstk.Repetition(1, 1, v1=(0,0), v2=(0,0)); decadedivider_2.add(r)
r = gdstk.Reference(guardring, (50.85,21.26), rotation=pi/2); r.repetition = gdstk.Repetition(1, 1, v1=(0,0), v2=(0,0)); decadedivider_2.add(r)
r = gdstk.Reference(cap3, (12.29,-14.285)); r.repetition = gdstk.Repetition(1, 1, v1=(0,0), v2=(0,0)); decadedivider_2.add(r)
r = gdstk.Reference(via_stack_10, (12.45,27.07), rotation=pi/2); r.repetition = gdstk.Repetition(1, 1, v1=(0,0), v2=(0,0)); decadedivider_2.add(r)
r = gdstk.Reference(via_stack_11, (99.93,23.66), rotation=pi/2); r.repetition = gdstk.Repetition(1, 1, v1=(0,0), v2=(0,0)); decadedivider_2.add(r)
r = gdstk.Reference(via_stack_11, (99.925,22.09), rotation=pi/2); r.repetition = gdstk.Repetition(1, 1, v1=(0,0), v2=(0,0)); decadedivider_2.add(r)
decadedivider_2.add(gdstk.Label('IOUT', (99.112,14.142), layer=30, texttype=25))
decadedivider_2.add(gdstk.Label('IREF', (1.84,14.15), layer=30, texttype=25))
decadedivider_2.add(gdstk.Label('VDDA', (2.19,26.92), layer=30, texttype=25))
decadedivider_2.add(gdstk.Label('VSSA', (2.245,0.335), layer=30, texttype=25))
decadedivider_2.add(gdstk.Label('IREF_CORE[0]', (98.875,29.71), layer=10, texttype=25))

lib.write_gds('DecadeDivider_2.gds')
